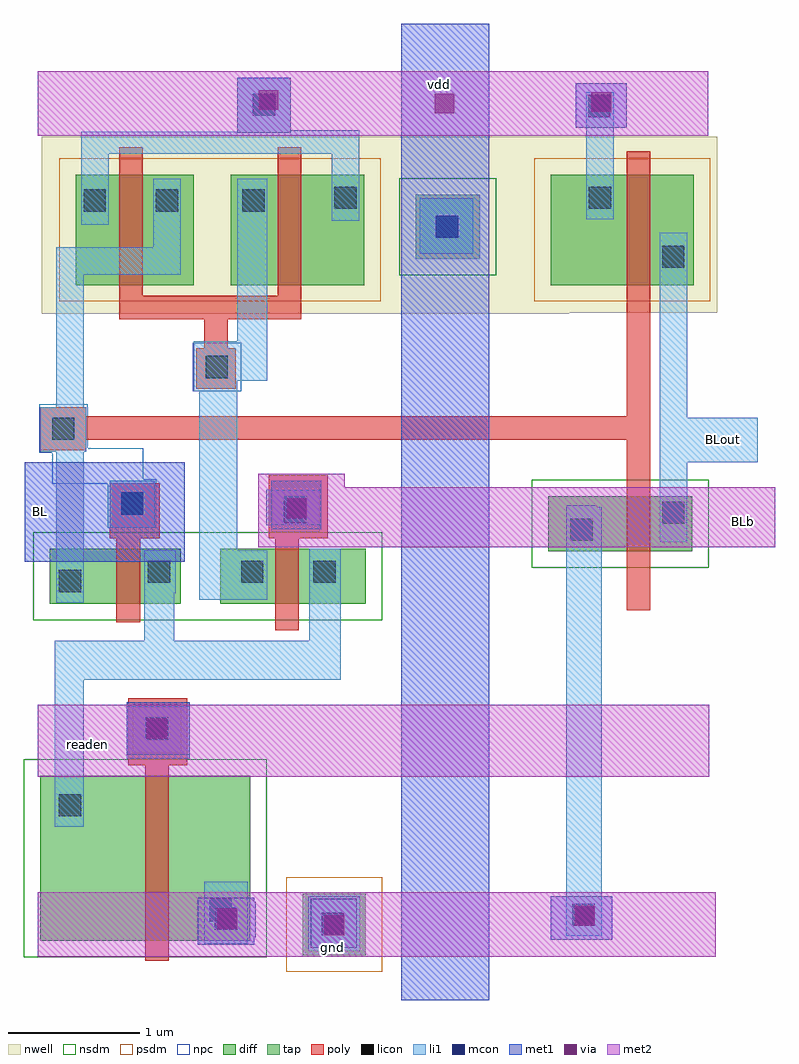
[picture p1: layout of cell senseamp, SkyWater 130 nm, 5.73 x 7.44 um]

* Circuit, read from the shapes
.subckt senseamp BL BLb BLout gnd readen vdd
XM1 n1 BL n2 gnd sky130_fd_pr__nfet_01v8 w=0.42 l=0.18
XM2 gnd readen n1 gnd sky130_fd_pr__nfet_01v8 w=1.26 l=0.18
XM3 n1 BLb n3 gnd sky130_fd_pr__nfet_01v8 w=0.42 l=0.18
XM4 BLout n2 gnd gnd sky130_fd_pr__nfet_01v8 w=0.42 l=0.18
XM5 n2 n3 vdd vdd sky130_fd_pr__pfet_01v8 w=0.84 l=0.18
XM6 vdd n3 n3 vdd sky130_fd_pr__pfet_01v8 w=0.84 l=0.18
XM7 BLout n2 vdd vdd sky130_fd_pr__pfet_01v8 w=0.84 l=0.18
.ends

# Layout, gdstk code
import gdstk
lib = gdstk.Library(unit=1e-6, precision=1e-09)
def R(c, l, rs):  # rectangles x0, y0, x1, y1
    for r in rs: c.add(gdstk.rectangle(r[:2], r[2:], *l))
nwell = (64, 20)
diff = (65, 20)
tap = (65, 44)
poly = (66, 20)
licon = (66, 44)
li1 = (67, 20)
mcon = (67, 44)
met1 = (68, 20)
via = (68, 44)
met2 = (69, 20)
nsdm = (93, 44)
psdm = (94, 20)
npc = (95, 20)

senseamp = lib.new_cell('senseamp')
R(senseamp, nwell, [(0.05,0.69,4.07,0.7), (0.05,0.7,5.2,2.04)])
R(senseamp, diff, [(0.04,-4.09,1.64,-2.83), (0.11,-1.52,1.11,-1.1), (1.41,-1.52,2.52,-1.1), (3.91,-1.12,5.01,-0.7), (0.31,0.91,1.21,1.75), (1.49,0.91,2.51,1.75), (3.93,0.91,5.02,1.75)])
R(senseamp, tap, [(2.04,-4.2,2.52,-3.73), (2.9,1.11,3.39,1.6)])
R(senseamp, poly, [(0.84,-4.24,1.02,-2.75), (0.71,-2.75,1.16,-2.24), (1.83,-1.72,2.01,-1.02), (0.62,-1.66,0.8,-1.02), (4.51,-1.57,4.69,-0.27), (0.57,-1.02,0.95,-0.6), (1.78,-1.02,2.23,-0.54), (0.04,-0.35,0.39,-0.27), (0.04,-0.27,4.69,-0.09), (0.04,-0.09,0.39,-0.02), (4.51,-0.09,4.69,1.93), (1.23,0.12,1.53,0.43), (1.29,0.43,1.47,0.65), (0.64,0.65,2.03,0.83), (0.64,0.83,0.82,1.96), (1.85,0.83,2.03,1.96)])
R(senseamp, licon, [(2.185,-4.045,2.355,-3.875), (1.33,-3.94,1.5,-3.77), (0.18,-3.14,0.35,-2.97), (0.845,-2.555,1.015,-2.385), (0.18,-1.43,0.35,-1.26), (0.86,-1.36,1.03,-1.19), (1.57,-1.36,1.74,-1.19), (2.12,-1.36,2.29,-1.19), (4.08,-1.04,4.25,-0.87), (4.78,-0.91,4.95,-0.74), (1.9,-0.87,2.07,-0.7), (0.655,-0.84,0.825,-0.67), (0.13,-0.27,0.3,-0.1), (1.3,0.2,1.47,0.37), (4.78,1.04,4.95,1.21), (3.055,1.27,3.225,1.44), (0.37,1.47,0.54,1.64), (0.92,1.47,1.09,1.64), (1.58,1.47,1.75,1.64), (2.28,1.49,2.45,1.66), (4.22,1.49,4.39,1.66)])
R(senseamp, li1, [(2.08,-4.17,2.48,-3.75), (1.29,-4.11,1.62,-3.64), (4.05,-4.05,4.32,-0.78), (0.15,-3.22,0.37,-2.1), (0.7,-2.7,1.18,-2.3), (0.15,-2.1,2.33,-1.8), (0.83,-1.8,1.06,-1.44), (2.09,-1.8,2.33,-1.1), (0.16,-1.51,0.37,-0.36), (1.25,-1.49,1.77,-1.11), (0.83,-1.44,1.07,-1.11), (1.25,-1.11,1.54,0.1), (4.76,-1.05,4.97,-0.44), (0.57,-0.94,0.91,-0.58), (1.76,-0.92,2.18,-0.65), (4.05,-0.78,4.28,-0.77), (4.76,-0.44,5.51,-0.1), (0.04,-0.36,0.39,-0.02), (4.76,-0.1,4.97,1.31), (0.16,-0.02,0.37,0.99), (1.21,0.1,1.54,0.18), (1.21,0.18,1.77,0.48), (1.54,0.48,1.77,1.72), (0.16,0.99,1.11,1.2), (2.93,1.15,3.34,1.57), (0.9,1.2,1.11,1.72), (0.35,1.37,0.56,1.91), (2.26,1.4,2.47,1.91), (4.2,1.41,4.41,2.38), (0.35,1.91,2.47,2.08), (1.54,2.08,2.47,2.09), (1.54,2.09,1.95,2.49)])
R(senseamp, mcon, [(2.185,-4.045,2.355,-3.875), (1.37,-4.005,1.54,-3.835), (4.095,-3.975,4.265,-3.805), (0.845,-2.555,1.015,-2.385), (1.895,-0.905,2.065,-0.735), (0.655,-0.84,0.825,-0.67), (3.055,1.27,3.225,1.44), (4.215,2.19,4.385,2.36), (1.66,2.2,1.83,2.37)])
R(senseamp, met1, [(2.79,-4.54,3.46,2.9), (2.1,-4.14,2.45,-3.77), (1.24,-4.12,1.67,-4.06), (3.93,-4.08,4.4,-3.75), (1.24,-4.06,1.68,-3.79), (1.24,-3.79,1.67,-3.76), (0.7,-2.67,1.18,-2.27), (-0.08,-1.2,1.14,-0.44), (1.8,-0.95,2.18,-0.58), (1.54,2.07,1.95,2.49), (4.12,2.11,4.51,2.45)])
R(senseamp, via, [(2.205,-4.045,2.355,-3.895), (1.39,-3.995,1.54,-3.845), (4.115,-3.97,4.265,-3.82), (0.855,-2.545,1.005,-2.395), (1.92,-0.865,2.07,-0.715), (3.045,2.22,3.195,2.37), (4.24,2.23,4.39,2.38), (1.705,2.245,1.855,2.395)])
R(senseamp, met2, [(0.02,-4.21,5.19,-3.72), (0.02,-2.84,5.14,-2.29), (1.7,-1.09,5.64,-0.63), (1.7,-0.63,2.36,-0.53), (0.02,2.05,5.13,2.54)])
R(senseamp, nsdm, [(-0.085,-4.215,1.765,-2.705), (-0.015,-1.645,2.645,-0.975), (3.785,-1.245,5.135,-0.575), (2.775,0.985,3.515,1.725)])
R(senseamp, psdm, [(1.915,-4.325,2.645,-3.605), (0.185,0.785,2.635,1.875), (3.805,0.785,5.145,1.875)])
R(senseamp, npc, [(0.745,-2.655,1.115,-2.285), (1.8,-0.97,2.17,-0.6), (0.555,-0.94,0.925,-0.605), (0.13,-0.605,0.925,-0.57), (0.13,-0.57,0.825,-0.37), (0.03,-0.37,0.825,-0.335), (0.03,-0.335,0.4,0), (1.2,0.1,1.57,0.47)])
senseamp.add(gdstk.Label('BLb', (5.4,-0.89), layer=69, texttype=5))
senseamp.add(gdstk.Label('BLout', (5.25,-0.27), layer=67, texttype=5))
senseamp.add(gdstk.Label('vdd', (3.08,2.44), layer=69, texttype=5))
senseamp.add(gdstk.Label('readen', (0.4,-2.59), layer=69, texttype=5))
senseamp.add(gdstk.Label('gnd', (2.27,-4.14), layer=69, texttype=5))
senseamp.add(gdstk.Label('BL', (0.04,-0.82), layer=68, texttype=5))

lib.write_gds('senseamp.gds')
